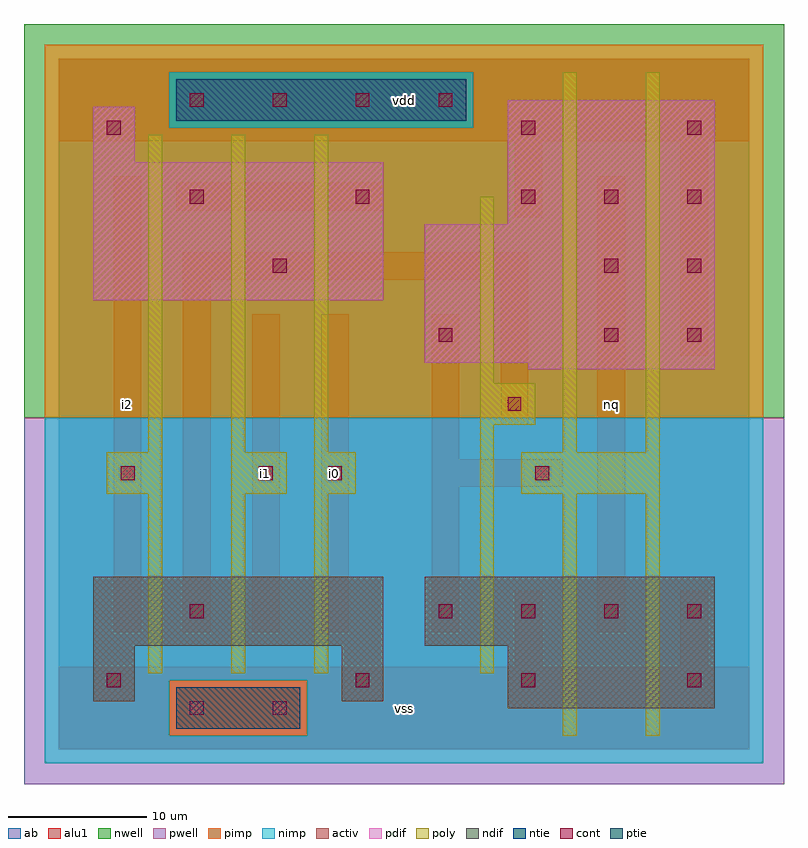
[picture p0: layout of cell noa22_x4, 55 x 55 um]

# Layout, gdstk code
import gdstk
lib = gdstk.Library(unit=1e-6, precision=1e-09)
def R(c, l, rs):  # rectangles x0, y0, x1, y1
    for r in rs: c.add(gdstk.rectangle(r[:2], r[2:], *l))
def A(c, l, x, y, w, h, nx, ny, dx, dy):  # array of equal rectangles
    R(c, l, [(x+i*dx, y+j*dy, x+i*dx+w, y+j*dy+h) for i in range(nx) for j in range(ny)])
ndif = (3, 0)
pdif = (4, 0)
ntie = (5, 0)
ptie = (6, 0)
cont = (25, 0)
pwell = (41, 0)
nwell = (42, 0)
activ = (43, 0)
pimp = (44, 0)
nimp = (45, 0)
poly = (46, 0)
alu1 = (49, 0)
ab = (63, 0)

noa22_x4 = lib.new_cell('noa22_x4')
R(noa22_x4, ndif, [(32.5,3,47.5,7.5), (2.5,3.5,5.5,7.5), (20.5,3.5,23.5,7.5), (2.5,7.5,23.5,12.5), (26.5,7.5,47.5,12.5)])
R(noa22_x4, pdif, [(34,27.5,47.5,28), (26.5,28,47.5,38), (2.5,32.5,23.5,42.5), (32.5,38,47.5,47), (2.5,42.5,5.5,46.5)])
R(noa22_x4, ntie, [(8.5,45.5,29.5,48.5)])
R(noa22_x4, ptie, [(8.5,1.5,17.5,4.5)])
A(noa22_x4, cont, 21.5, 4.5, 1, 1, 3, 1, 12, 0)
A(noa22_x4, cont, 27.5, 9.5, 1, 1, 4, 1, 6, 0)
A(noa22_x4, cont, 39.5, 29.5, 1, 1, 1, 3, 0, 5)
A(noa22_x4, cont, 45.5, 29.5, 1, 1, 1, 4, 0, 5)
A(noa22_x4, cont, 9.5, 39.5, 1, 1, 3, 1, 12, 0)
A(noa22_x4, cont, 9.5, 46.5, 1, 1, 4, 1, 6, 0)
R(noa22_x4, cont, [(9.5,2.5,10.5,3.5), (15.5,2.5,16.5,3.5), (3.5,4.5,4.5,5.5), (9.5,9.5,10.5,10.5), (4.5,19.5,5.5,20.5), (14.5,19.5,15.5,20.5), (19.5,19.5,20.5,20.5), (34.5,19.5,35.5,20.5), (32.5,24.5,33.5,25.5), (27.5,29.5,28.5,30.5), (15.5,34.5,16.5,35.5), (3.5,44.5,4.5,45.5), (33.5,44.5,34.5,45.5)])
R(noa22_x4, pwell, [(-2.5,-2.5,52.5,24)])
R(noa22_x4, nwell, [(-2.5,24,52.5,52.5)])
R(noa22_x4, activ, [(8.5,1.5,17.5,4.5), (32.5,3,47.5,7.5), (2.5,3.5,5.5,7.5), (20.5,3.5,23.5,7.5), (2.5,7.5,23.5,12.5), (26.5,7.5,47.5,12.5), (34,27.5,47.5,28), (26.5,28,47.5,38), (2.5,32.5,23.5,42.5), (32.5,38,47.5,47), (2.5,42.5,5.5,46.5), (8.5,45.5,29.5,48.5)])
R(noa22_x4, pimp, [(8,1,18,5), (-1,24,51,45), (-1,45,8,49), (30,45,51,49), (-1,49,51,51)])
R(noa22_x4, nimp, [(-1,-1,51,1), (-1,1,8,5), (18,1,51,5), (-1,5,51,24), (8,45,30,49)])
A(noa22_x4, poly, 6.5, 5.5, 1, 13, 3, 1, 6, 0)
A(noa22_x4, poly, 6.5, 21.5, 1, 23, 3, 1, 6, 0)
R(noa22_x4, poly, [(36.5,1,37.5,18.5), (42.5,1,43.5,18.5), (30.5,5.5,31.5,23.5), (3.5,18.5,7.5,21.5), (12.5,18.5,16.5,21.5), (18.5,18.5,21.5,21.5), (33.5,18.5,43.5,21.5), (36.5,21.5,37.5,49), (42.5,21.5,43.5,49), (30.5,23.5,34.5,26.5), (30.5,26.5,31.5,40)])
R(noa22_x4, alu1, [(0,0,50,6), (0,0,50,6), (33,6,35,11.5), (33,6,35,11.5), (45,6,47,11.5), (45,6,47,11.5), (4,8.5,6,41.5), (4,8.5,6,41.5), (9,8.5,11,34), (9,8.5,11,34), (14,8.5,16,31.5), (14,8.5,16,31.5), (19,8.5,21,31.5), (19,8.5,21,31.5), (27,8.5,29,19), (27,8.5,29,19), (39,8.5,41,41.5), (39,8.5,41,41.5), (27,19,36.5,21), (27,19,36.5,21), (27,21,29,31.5), (27,21,29,31.5), (32,23.5,34,34), (32,23.5,34,34), (45,28.5,47,44), (45,28.5,47,44), (9,34,34,36), (9,34,34,36), (33,38.5,35,44), (33,38.5,35,44), (8.5,39,23.5,41), (8.5,39,23.5,41), (0,44,50,50), (0,44,50,50)])
R(noa22_x4, ab, [(0,0,50,50)])
noa22_x4.add(gdstk.Label('i2', (5,25), layer=49, texttype=0))
noa22_x4.add(gdstk.Label('i0', (20,20), layer=49, texttype=0))
noa22_x4.add(gdstk.Label('i1', (15,20), layer=49, texttype=0))
noa22_x4.add(gdstk.Label('vss', (25,3), layer=49, texttype=0))
noa22_x4.add(gdstk.Label('vdd', (25,47), layer=49, texttype=0))
noa22_x4.add(gdstk.Label('nq', (40,25), layer=49, texttype=0))

lib.write_gds('noa22_x4.gds')
